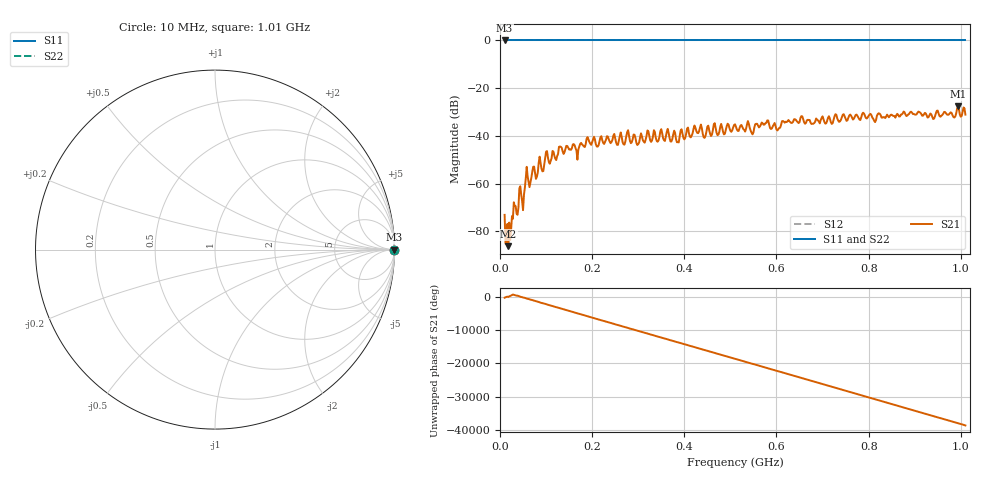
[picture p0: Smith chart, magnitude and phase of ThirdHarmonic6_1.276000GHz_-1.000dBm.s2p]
! 8/16/2025 1:50:57 PM
! C:\ANRITSUVNA\TEMP\TEMP.S2P
! CHANNEL.1
! TR.MEASUREMENT
! RAW.DATA
! RF.CORRECTION.OFF
! AVERAGING.OFF
! IF.BANDWIDTH: 5KHZ
! SWEEPTYPE:  FREQ.SWEEP(Linear)
! Reference Plane Port Info
! PORT:  PORT1  PORT2
! DISTANCE:  0  m  0  m
! TIME:  0  s  0  s
! PHASE.OFFSET:  0  deg.  0  deg.
! LOSS:  0  dB  0  dB
! REF.LOSS:  0  dB  0  dB
! REF.FREQ:  0  Hz  0  Hz
! Power Info
! POWER:  -20  dBm  -20  dBm
! EFF.POWER:  -20  dBm  -20  dBm
! SOURCE.ATTEN:  0  dB  0  dB
! TEST.ATTEN:  0  dB  0  dB
# GHZ S RI R 50.0
! FREQ.GHZ  S11RE  S11IM  S21RE  S21IM  S12RE  S12IM  S22RE  S22IM
!; PortSelection: Port_12
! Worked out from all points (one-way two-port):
!   501 points, 10 MHz to 1.01 GHz, reference 50 ohm
!   highest |S21| = -27.62 dB at 994 MHz (marker M1); lowest = -86.2 dB at 18 MHz (marker M2)
!   lowest |S11| = 0.0 dB at 10 MHz (marker M3)
!   |S11| at or under -10 dB: nowhere
!   |S22| runs from 0.0 to 0.0 dB; largest |S21 - S12| = 1
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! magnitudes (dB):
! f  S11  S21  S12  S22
! 10 MHz  0.0  -73.1  0.0  0.0
! 18 MHz  0.0  -86.2  0.0  0.0
! 44 MHz  0.0  -61.1  0.0  0.0
! 50 MHz  0.0  -71.1  0.0  0.0
! 58 MHz  0.0  -53.0  0.0  0.0
! 92 MHz  0.0  -54.8  0.0  0.0
! 100 MHz  0.0  -46.6  0.0  0.0
! 178 MHz  0.0  -43.5  0.0  0.0
! 270 MHz  0.0  -43.7  0.0  0.0
! 278 MHz  0.0  -37.6  0.0  0.0
! 298 MHz  0.0  -43.8  0.0  0.0
! 320 MHz  0.0  -37.7  0.0  0.0
! 344 MHz  0.0  -41.9  0.0  0.0
! 510 MHz  0.0  -35.1  0.0  0.0
! 546 MHz  0.0  -38.7  0.0  0.0
! 578 MHz  0.0  -34.5  0.0  0.0
! 604 MHz  0.0  -37.2  0.0  0.0
! 654 MHz  0.0  -31.7  0.0  0.0
! 678 MHz  0.0  -34.9  0.0  0.0
! 844 MHz  0.0  -32.2  0.0  0.0
! 994 MHz  0.0  -27.6  0.0  0.0
! 1.01 GHz  0.0  -31.1  0.0  0.0
